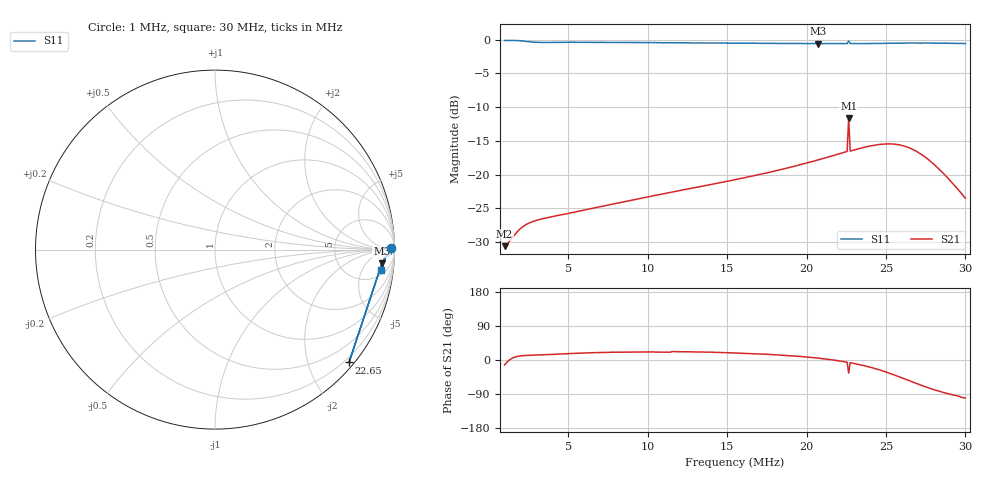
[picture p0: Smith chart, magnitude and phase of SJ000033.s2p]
!File created by NanoVNA-F V2
# Hz S RI R 50
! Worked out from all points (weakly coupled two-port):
!   301 points, 1 MHz to 30 MHz, reference 50 ohm
!   highest |S21| = -11.60 dB at 22.65 MHz (marker M1); lowest = -30.6 dB at 1 MHz (marker M2)
!   lowest |S11| = -0.6 dB at 20.72 MHz (marker M3), VSWR 28.24, Z = 602 - j697 ohm
!   |S11| at or under -10 dB: nowhere
!   S12 and S22 are empty: the file has one direction only
!   S11 on the Smith chart (normalised r, x): 1 MHz: open; 22.65 MHz: 0.10, -2.74; 30 MHz: 7, -12
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1000000  0.9825 0.00646  0.0288 -0.00669  0 0  0 0
1193332  0.9826 0.00216  0.0309 -0.00197  0 0  0 0
1869994  0.9792 -0.0216  0.0381 0.00672  0 0  0 0
2256658  0.9716 -0.0303  0.0412 0.00861  0 0  0 0
2643322  0.9605 -0.0348  0.0433 0.00965  0 0  0 0
3416650  0.9491 -0.0259  0.0459 0.0113  0 0  0 0
5833300  0.9534 -0.0297  0.0514 0.017  0 0  0 0
1.06666e7  0.9473 -0.0502  0.0663 0.0253  0 0  0 0
1.54999e7  0.9372 -0.0639  0.087 0.0292  0 0  0 0
2.03332e7  0.9295 -0.0749  0.124 0.0142  0 0  0 0
2.071986e7  0.9284 -0.0765  0.1281 0.0112  0 0  0 0
2.255652e7  0.929 -0.0775  0.1477 -0.0148  0 0  0 0
2.265318e7  0.7466 -0.6284  0.2165 -0.1496  0 0  0 0
2.274985e7  0.9294 -0.0792  0.1482 -0.0186  0 0  0 0
2.410317e7  0.9318 -0.0817  0.1539 -0.0561  0 0  0 0
2.51665e7  0.9338 -0.0835  0.14 -0.0946  0 0  0 0
2.622983e7  0.9375 -0.091  0.1025 -0.1252  0 0  0 0
2.680982e7  0.9364 -0.094  0.0752 -0.1311  0 0  0 0
2.738982e7  0.9353 -0.0979  0.0486 -0.1281  0 0  0 0
2.796981e7  0.9354 -0.103  0.0259 -0.118  0 0  0 0
2.864648e7  0.9333 -0.108  0.00706 -0.101  0 0  0 0
2.99998e7  0.9266 -0.1123  -0.0121 -0.0658  0 0  0 0
